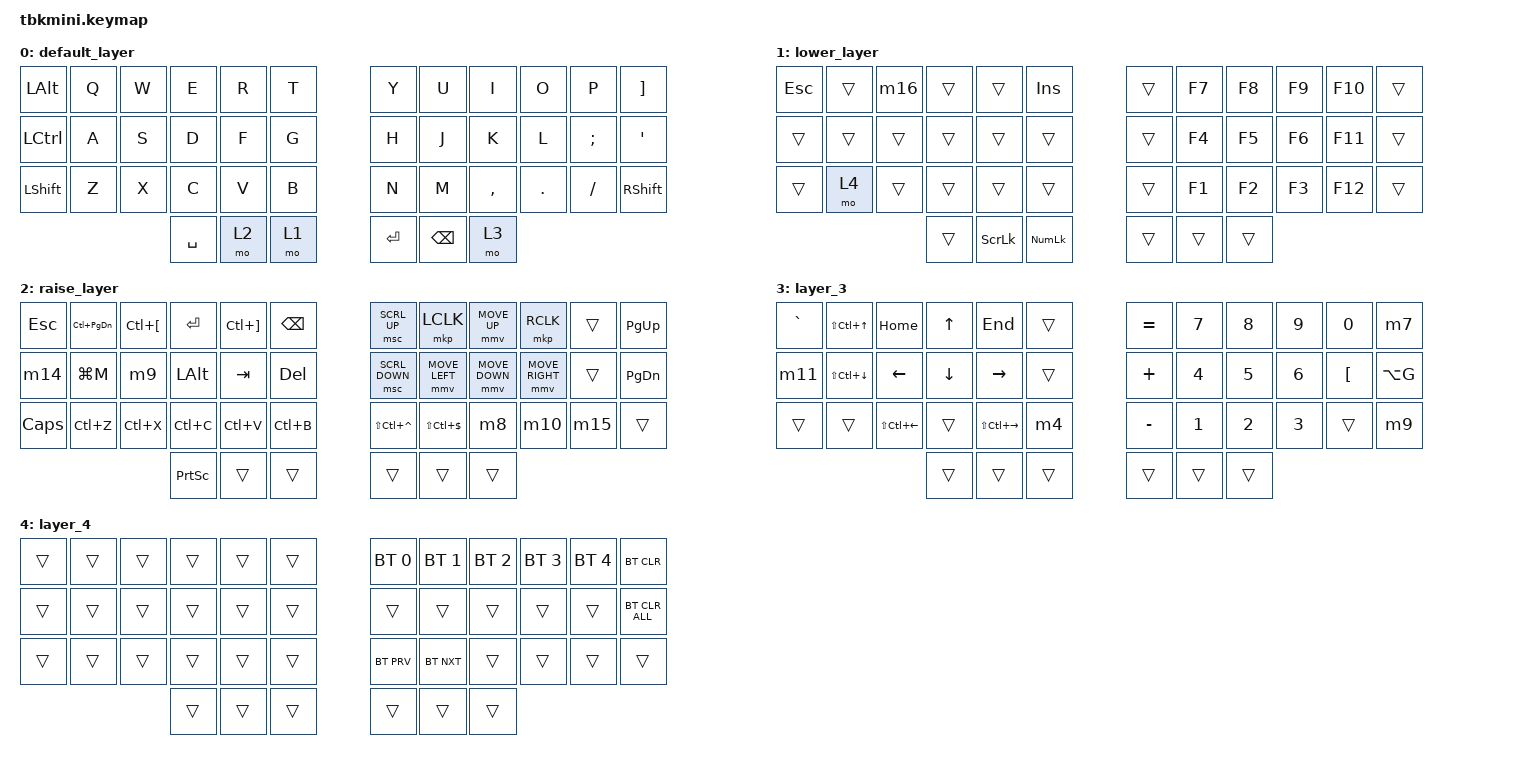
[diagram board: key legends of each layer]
/*
 * Copyright (c) 2020 The ZMK Contributors
 *
 * SPDX-License-Identifier: MIT
 */

#include <dt-bindings/zmk/mouse.h>
#include <behaviors.dtsi>
#include <dt-bindings/zmk/bt.h>
#include <dt-bindings/zmk/keys.h>
#include <dt-bindings/zmk/pointing.h>

/ {
    combos {
        compatible = "zmk,combos";

        combo_esc {
            timeout-ms = <50>;
            key-positions = <0 1>;
            bindings = <&kp ESC>;
        };
    };

    behaviors {
        ss_hs_modmorph: ss_hs_modmorph {
            compatible = "zmk,behavior-mod-morph";
            label = "SS_HS_MODMORPH";
            bindings = <&kp M>, <&kp RIGHT_BRACKET>;

            #binding-cells = <0>;
            mods = <(MOD_LSFT|MOD_RSFT)>;
        };

        kh_hs_tapdance: kh_hs_tapdance {
            compatible = "zmk,behavior-tap-dance";
            label = "KH_HS_TAPDANCE";
            #binding-cells = <0>;
            tapping-term-ms = <200>;
            bindings = <&kp LEFT_BRACKET>, <&kp RIGHT_BRACKET>;
        };

        hrm: hrm {
            compatible = "zmk,behavior-hold-tap";
            #binding-cells = <2>;
            flavor = "tap-preferred";
            tapping-term-ms = <200>;
            quick-tap-ms = <400>;
            require-prior-idle-ms = <125>;
            bindings = <&kp>, <&kp>;
        };
    };

    macros {
        m7: m7 {
            compatible = "zmk,behavior-macro";
            #binding-cells = <0>;
            bindings = <&kp LS(LC(UP_ARROW)) &kp LA(T)>;
            label = "M7";
        };

        m9: m9 {
            compatible = "zmk,behavior-macro";
            #binding-cells = <0>;
            bindings = <&kt LEFT_ALT &kp KP_NUMBER_4 &kp KP_NUMBER_4 &kt LEFT_ALT>;
            label = "M9";
        };

        m16: m16 {
            compatible = "zmk,behavior-macro";
            #binding-cells = <0>;
            bindings = <&kt LEFT_WIN &kp P &kt LEFT_WIN>;
            label = "M16";
        };

        m4: m4 {
            compatible = "zmk,behavior-macro";
            #binding-cells = <0>;
            bindings = <&kt LCTRL &kp B &kp U &kt LCTRL>;
            label = "M4";
        };

        m10: m10 {
            compatible = "zmk,behavior-macro";
            #binding-cells = <0>;
            bindings = <&kt LEFT_ALT &kp KP_NUMBER_4 &kp KP_NUMBER_7 &kt LEFT_ALT>;
            label = "M10";
        };

        m11: m11 {
            compatible = "zmk,behavior-macro";
            #binding-cells = <0>;
            bindings = <&kt LEFT_ALT &kp KP_NUMBER_1 &kp KP_NUMBER_2 &kp KP_NUMBER_6 &kt LEFT_ALT>;
            label = "M11";
        };

        m14: m14 {
            compatible = "zmk,behavior-macro";
            #binding-cells = <0>;
            bindings = <&kp LC(C) &kp LA(TAB) &kp LEFT_SHIFT &kp LEFT_SHIFT &kp LEFT_SHIFT &kp RCTRL &kp RCTRL &kp LEFT_SHIFT &kp LC(F) &kp LEFT_SHIFT &kp LEFT_SHIFT &kp LEFT_SHIFT &kp RCTRL &kp RCTRL &kp LEFT_SHIFT &kp LC(V)>;
            label = "M14";
        };

        m15: m15 {
            compatible = "zmk,behavior-macro";
            #binding-cells = <0>;
            bindings = <&kt LEFT_ALT &kp KP_NUMBER_6 &kp KP_NUMBER_2 &kt LEFT_ALT>;
            label = "M15";
        };

        m8: m8 {
            compatible = "zmk,behavior-macro";
            #binding-cells = <0>;
            bindings = <&kt LEFT_ALT &kp KP_NUMBER_3 &kp KP_NUMBER_5 &kt LEFT_ALT>;
            label = "M8";
        };
    };

    keymap {
        compatible = "zmk,keymap";

        default_layer {
            // -----------------------------------------------------------------------------------------
            // |  TAB |  Q  |  W  |  E  |  R  |  T  |   |  Y  |  U   |  I  |  O  |  P  | BKSP |
            // | CTRL |  A  |  S  |  D  |  F  |  G  |   |  H  |  J   |  K  |  L  |  ;  |  '   |
            // | SHFT |  Z  |  X  |  C  |  V  |  B  |   |  N  |  M   |  ,  |  .  |  /  | ESC  |
            //                    | GUI | LWR | SPC |   | ENT | RSE  | ALT |

            bindings = <
&kp LEFT_ALT  &kp Q  &kp W  &kp E      &kp R  &kp T    &kp Y      &kp U     &kp I      &kp O    &kp P     &kp RIGHT_BRACKET
&kp LCTRL     &kp A  &kp S  &kp D      &kp F  &kp G    &kp H      &kp J     &kp K      &kp L    &kp SEMI  &kp SQT
&kp LSHFT     &kp Z  &kp X  &kp C      &kp V  &kp B    &kp N      &kp M     &kp COMMA  &kp DOT  &kp FSLH  &kp RIGHT_SHIFT
                            &kp SPACE  &mo 2  &mo 1    &kp ENTER  &kp BSPC  &mo 3
            >;
        };

        lower_layer {
            // -----------------------------------------------------------------------------------------
            // |  TAB |  1  |  2  |  3  |  4  |  5  |   |  6  |  7  |  8  |  9  |  0  | BKSP |
            // | BTCLR| BT1 | BT2 | BT3 | BT4 | BT5 |   | LFT | DWN |  UP | RGT |     |      |
            // | SHFT |     |     |     |     |     |   |     |     |     |     |     |      |
            //                    | GUI |     | SPC |   | ENT |     | ALT |

            bindings = <
&kp ESC  &trans  &m16    &trans  &trans          &kp INSERT        &trans  &kp F7  &kp F8  &kp F9  &kp F10  &trans
&trans   &trans  &trans  &trans  &trans          &trans            &trans  &kp F4  &kp F5  &kp F6  &kp F11  &trans
&trans   &mo 4   &trans  &trans  &trans          &trans            &trans  &kp F1  &kp F2  &kp F3  &kp F12  &trans
                         &trans  &kp SCROLLLOCK  &kp KP_NUMLOCK    &trans  &trans  &trans
            >;
        };

        raise_layer {
            // -----------------------------------------------------------------------------------------
            // |  TAB |  !  |  @  |  #  |  $  |  %  |   |  ^  |  &  |  *  |  (  |  )  | BKSP |
            // | CTRL |     |     |     |     |     |   |  -  |  =  |  [  |  ]  |  \  |  `   |
            // | SHFT |     |     |     |     |     |   |  _  |  +  |  {  |  }  | "|" |  ~   |
            //                    | GUI |     | SPC |   | ENT |     | ALT |

            bindings = <
&kp ESC   &kp LC(PAGE_DOWN)  &kp LC(LBKT)  &kp RET          &kp LC(RBKT)  &kp BSPC     &msc SCRL_UP       &mkp LCLK         &mmv MOVE_UP    &mkp RCLK        &trans  &kp PG_UP
&m14      &kp LG(M)          &m9           &kp LALT         &kp TAB       &kp DEL      &msc SCRL_DOWN     &mmv MOVE_LEFT    &mmv MOVE_DOWN  &mmv MOVE_RIGHT  &trans  &kp PG_DN
&kp CAPS  &kp LC(Z)          &kp LC(X)     &kp LC(C)        &kp LC(V)     &kp LC(B)    &kp LS(LC(CARET))  &kp LS(LC(DLLR))  &m8             &m10             &m15    &trans
                                           &kp PRINTSCREEN  &trans        &trans       &trans             &trans            &trans
            >;
        };

        layer_3 {
            bindings = <
&kp GRAVE  &kp LS(LC(UP))    &kp HOME          &kp UP_ARROW  &kp END            &trans    &kp EQUAL  &kp N7        &kp N8        &kp N9        &kp N0            &m7
&m11       &kp LS(LC(DOWN))  &kp LEFT_ARROW    &kp DOWN      &kp RIGHT          &trans    &kp PLUS   &kp NUMBER_4  &kp N5        &kp NUMBER_6  &kp LEFT_BRACKET  &kp LA(G)
&trans     &trans            &kp LS(LC(LEFT))  &trans        &kp LS(LC(RIGHT))  &m4       &kp MINUS  &kp NUMBER_1  &kp NUMBER_2  &kp NUMBER_3  &trans            &m9
                                               &trans        &trans             &trans    &trans     &trans        &trans
            >;
        };

        layer_4 {
            bindings = <
&trans  &trans  &trans  &trans  &trans  &trans    &bt BT_SEL 0  &bt BT_SEL 1  &bt BT_SEL 2  &bt BT_SEL 3  &bt BT_SEL 4  &bt BT_CLR
&trans  &trans  &trans  &trans  &trans  &trans    &trans        &trans        &trans        &trans        &trans        &bt BT_CLR_ALL
&trans  &trans  &trans  &trans  &trans  &trans    &bt BT_PRV    &bt BT_NXT    &trans        &trans        &trans        &trans
                        &trans  &trans  &trans    &trans        &trans        &trans
            >;
        };
    };
};
